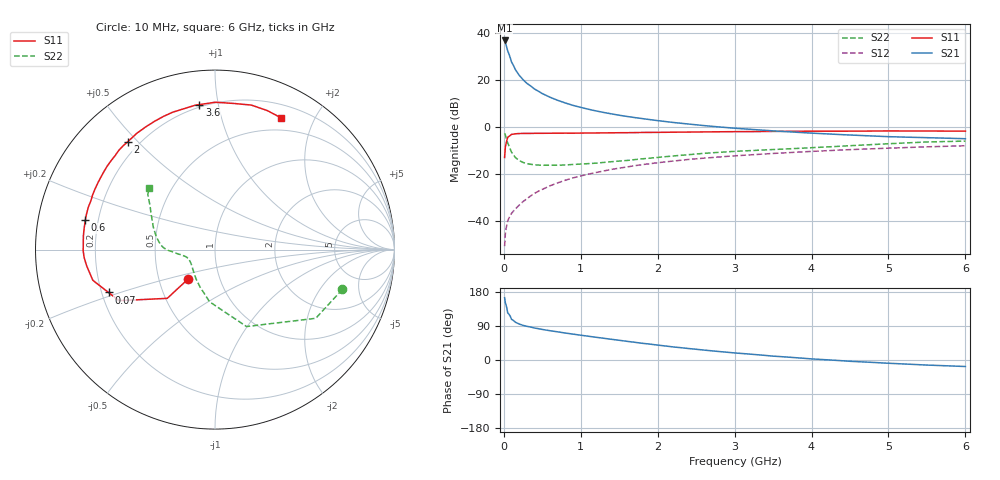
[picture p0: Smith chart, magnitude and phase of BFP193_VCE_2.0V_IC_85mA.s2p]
! Infineon Technologies  Discrete & RF Semiconductors
! BFP193
! VCE =  2.0 V,  IC =  85 mA
! Common Emitter S-Parameters:  Jan 2017
# GHz  S  MA  R  50
!  f  S11  S21  S12  S22
! GHz  MAG  ANG  MAG  ANG  MAG  ANG  MAG  ANG
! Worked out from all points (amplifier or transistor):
!   77 points, 10 MHz to 6 GHz, reference 50 ohm
!   highest |S21| = 36.9 dB at 10 MHz (marker M1)
!   |S21| within 3 dB of that: start of sweep to 38.03 MHz
!   unconditionally stable (mu >= 1): start of sweep to 10.01231 MHz; 233.9 MHz to 3.247 GHz
!   at 130 MHz: K = 0.83, MSG = 30.8 dB, |S12| = -35.6 dB
!   at 2.2 GHz: K = 1.04, MAG = 7.0 dB, |S12| = -14.5 dB
!   at 6 GHz: K = 1.00, MSG = 1.5 dB, |S12| = -7.9 dB
!   S11 on the Smith chart (normalised r, x): 10 MHz: 0.70, -0.25; 70 MHz: 0.23, -0.18; 600 MHz: 0.15, +0.11; 2 GHz: 0.16, +0.47; 3.6 GHz: 0.19, +0.88; 6 GHz: 0.34, +1.56
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0.01  0.2253 -132.5  70.38 164.4  0.0029 77.6  0.7432 -17.4
0.02  0.3801 -134.4  64.4 150.7  0.0054 70.9  0.6794 -34.3
0.05  0.6059 -152.0  42.34 124.6  0.01 56.5  0.4634 -67.7
0.07  0.6395 -158.1  34.87 119.8  0.0118 58.1  0.3853 -75.9
0.1  0.7016 -165.9  24.46 107.3  0.0145 59.8  0.2928 -95.8
0.15  0.7204 -172.7  16.8 99.7  0.018 61.1  0.2243 -111.8
0.2  0.7302 -176.4  12.75 94.9  0.0218 65.3  0.1942 -123.0
0.25  0.7345 -179.5  10.26 91.4  0.0259 66.6  0.1767 -130.8
0.3  0.7344 178.0  8.565 88.8  0.0298 68.3  0.1664 -137.4
0.4  0.7373 174.0  6.47 84.3  0.0389 70.0  0.157 -145.6
0.5  0.7389 170.3  5.184 80.6  0.0471 70.7  0.1539 -151.4
0.6  0.7411 167.2  4.341 77.3  0.0562 70.3  0.1543 -155.9
0.8  0.7445 161.5  3.269 71.1  0.0739 70.2  0.1563 -161.1
1.1  0.749 153.0  2.405 62.7  0.0996 67.3  0.1668 -166.2
1.5  0.7595 142.3  1.792 52.0  0.1336 62.1  0.1894 -171.1
2  0.7729 129.1  1.376 39.3  0.1742 55.2  0.2261 -175.5
2.1  0.776 126.5  1.316 37.0  0.1815 53.8  0.2343 -176.6
3.1  0.8015 105.2  0.923 17.1  0.2501 40.3  0.31 173.3
3.6  0.8126 96.2  0.814 8.9  0.2802 34.1  0.3387 166.5
4.1  0.8199 88.4  0.731 1.7  0.3089 27.9  0.3712 158.5
5.1  0.8288 74.6  0.62 -9.5  0.3608 15.8  0.4503 144.3
6  0.8213 63.6  0.566 -17.2  0.4012 5.5  0.5039 136.8
